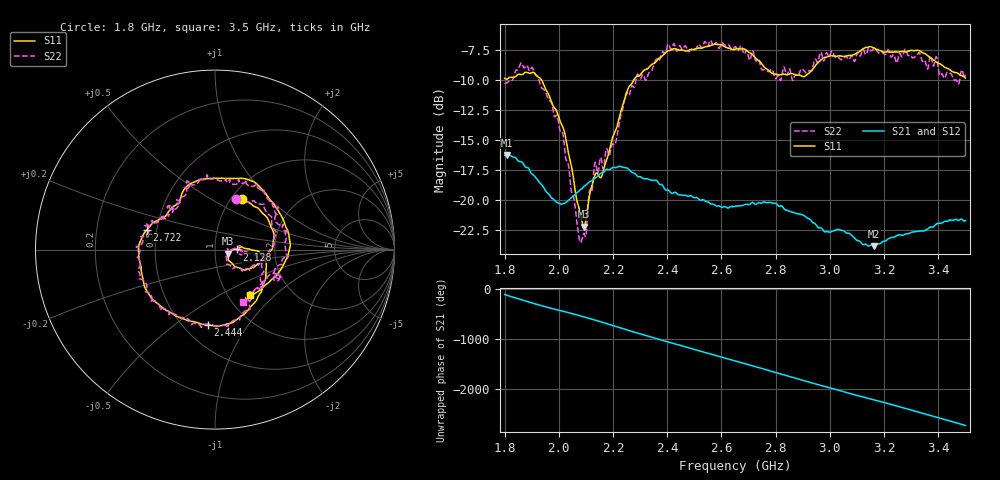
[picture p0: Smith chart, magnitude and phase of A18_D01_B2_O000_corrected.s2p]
! Created with skrf 1.9.0 (http://scikit-rf.org).
# Hz S RI R 50.0
!freq ReS11 ImS11 ReS21 ImS21 ReS12 ImS12 ReS22 ImS22
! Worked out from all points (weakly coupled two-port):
!   1601 points, 1.8 GHz to 3.5 GHz, reference 50 ohm
!   highest |S21| = -16.27 dB at 1.81 GHz (marker M1); lowest = -23.9 dB at 3.162 GHz (marker M2)
!   lowest |S11| = -22.3 dB at 2.093 GHz (marker M3), VSWR 1.17, Z = 57.9 - j2.69 ohm
!   |S11| at or under -10 dB: 1.936 GHz to 2.277 GHz (340.9 MHz wide, 16.2 % of centre)
!   |S22| runs from -23.6 to -6.7 dB; largest |S21 - S12| = 0.003
!   S11 on the Smith chart (normalised r, x): 1.8 GHz: 1.12, +0.71; 2.128 GHz: 1.28, +0.00; 2.444 GHz: 0.65, -0.67; 2.722 GHz: 0.44, +0.12; 3.5 GHz: 1.26, -0.72
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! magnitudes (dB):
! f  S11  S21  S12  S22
! 1.8 GHz  -9.9  -16.3  -16.3  -10.3
! 1.81 GHz  -9.9  -16.3  -16.3  -10.2
! 1.901 GHz  -9.4  -17.9  -17.8  -9.0
! 1.969 GHz  -11.6  -19.7  -19.7  -11.8
! 2.02 GHz  -14.3  -20.3  -20.3  -15.4
! 2.084 GHz  -21.6  -19.1  -19.1  -23.4
! 2.093 GHz  -22.3  -18.9  -19.0  -22.8
! 2.128 GHz  -18.3  -18.3  -18.3  -17.8
! 2.159 GHz  -18.0  -17.8  -17.7  -16.9
! 2.208 GHz  -14.3  -17.3  -17.3  -15.4
! 2.259 GHz  -10.6  -17.5  -17.5  -11.3
! 2.367 GHz  -8.3  -18.6  -18.6  -8.4
! 2.444 GHz  -7.5  -19.6  -19.6  -7.2
! 2.65 GHz  -7.5  -20.6  -20.5  -7.2
! 2.722 GHz  -8.1  -20.3  -20.3  -8.1
! 2.812 GHz  -9.6  -20.5  -20.4  -9.7
! 2.934 GHz  -9.2  -21.8  -21.8  -9.2
! 3.162 GHz  -7.3  -23.9  -23.8  -7.4
! 3.217 GHz  -7.7  -23.3  -23.2  -7.6
! 3.328 GHz  -7.5  -22.6  -22.6  -7.7
! 3.416 GHz  -8.8  -21.9  -21.9  -9.6
! 3.5 GHz  -9.9  -21.7  -21.8  -9.6
